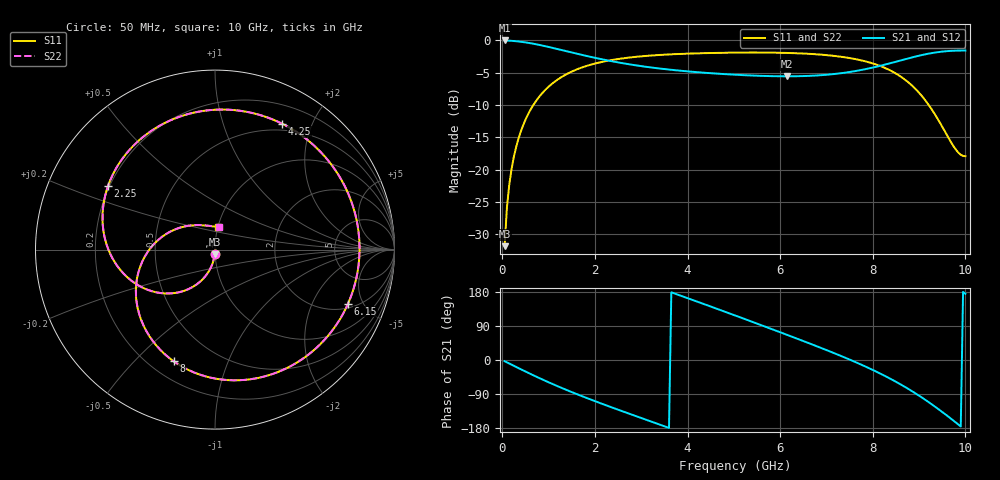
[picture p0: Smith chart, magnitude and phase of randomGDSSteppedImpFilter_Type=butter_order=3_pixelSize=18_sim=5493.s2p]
! freq	dB(S11)	phase(S11)	dB(S12)	phase(S12)
!  dB(S21)	phase(S21)	dB(S22)	phase(S22)
!S-par simulation data
#  GHz  S  DB  R 50
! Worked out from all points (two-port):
!   200 points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, 50 MHz to 10 GHz, reference 50 ohm
!   highest |S21| = -0.01 dB at 50 MHz (marker M1); lowest = -5.6 dB at 6.15 GHz (marker M2)
!   |S21| within 3 dB of the highest: start of sweep to 2.212 GHz; 8.648 GHz to end of sweep
!   lowest |S11| = -31.8 dB at 50 MHz (marker M3), VSWR 1.05, Z = 49.8 - j2.55 ohm
!   |S11| at or under -10 dB: start of sweep to 670.2 MHz; 9.21 GHz to end of sweep
!   |S22| runs from -31.8 to -1.9 dB; largest |S21 - S12| = 0
!   S11 on the Smith chart (normalised r, x): 50 MHz: 1.00, -0.05; 2.25 GHz: 0.19, +0.26; 4.25 GHz: 0.42, +1.59; 6.15 GHz: 2.28, -3.82; 8 GHz: 0.29, -0.65; 10 GHz: 1.00, +0.26
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0.05  -31.81 -93.2  -0.01 -3.1  -0.01 -3.1  -31.81 -93.2
0.1  -25.82 -96.5  -0.02 -6.2  -0.02 -6.2  -25.82 -96.5
0.2  -19.88 -102.8  -0.06 -12.4  -0.06 -12.4  -19.88 -102.8
0.5  -12.27 -121.0  -0.31 -30.4  -0.31 -30.4  -12.27 -120.9
1.1  -6.55 -154.8  -1.18 -64.2  -1.18 -64.2  -6.55 -154.8
1.75  -4.11 172.5  -2.29 -96.8  -2.29 -96.8  -4.11 172.5
2.25  -3.18 149.3  -3.06 -120.0  -3.06 -120.0  -3.18 149.4
2.85  -2.57 122.8  -3.82 -146.5  -3.82 -146.5  -2.57 122.8
3.4  -2.25 98.9  -4.35 -170.5  -4.35 -170.5  -2.25 99.0
4.25  -1.99 61.9  -4.94 152.2  -4.94 152.2  -1.99 62.0
5.05  -1.89 26.7  -5.31 116.5  -5.31 116.5  -1.89 26.8
5.6  -1.88 2.4  -5.49 91.6  -5.49 91.6  -1.88 2.5
6.15  -1.94 -22.1  -5.55 66.3  -5.55 66.3  -1.94 -22.0
6.7  -2.11 -46.9  -5.46 40.6  -5.46 40.6  -2.11 -46.7
7.4  -2.61 -79.6  -4.99 6.3  -4.99 6.3  -2.61 -79.5
8  -3.56 -110.4  -4.20 -26.2  -4.20 -26.2  -3.56 -110.3
8.35  -4.54 -130.4  -3.58 -47.5  -3.58 -47.5  -4.55 -130.3
8.85  -7.00 -163.2  -2.63 -82.5  -2.63 -82.5  -7.00 -163.2
9.2  -9.90 170.2  -2.05 -110.6  -2.05 -110.6  -9.91 169.9
9.4  -12.11 153.0  -1.82 -128.1  -1.82 -128.1  -12.13 152.5
9.65  -15.26 128.0  -1.64 -151.1  -1.64 -151.1  -15.30 127.1
10  -17.91 82.0  -1.57 174.7  -1.57 174.7  -17.92 80.2
